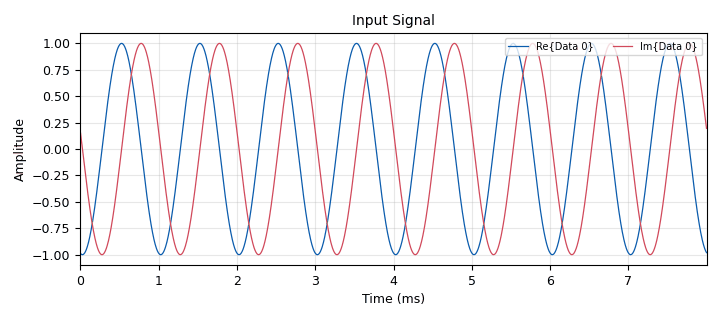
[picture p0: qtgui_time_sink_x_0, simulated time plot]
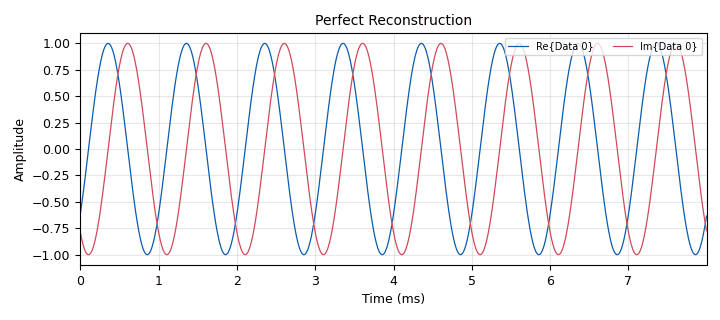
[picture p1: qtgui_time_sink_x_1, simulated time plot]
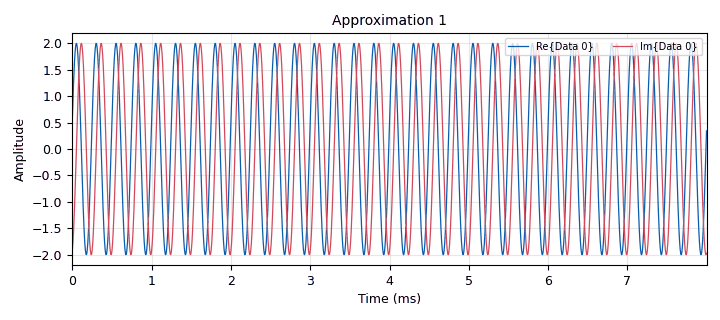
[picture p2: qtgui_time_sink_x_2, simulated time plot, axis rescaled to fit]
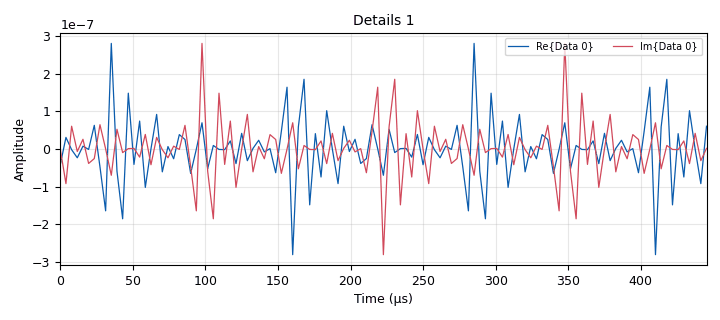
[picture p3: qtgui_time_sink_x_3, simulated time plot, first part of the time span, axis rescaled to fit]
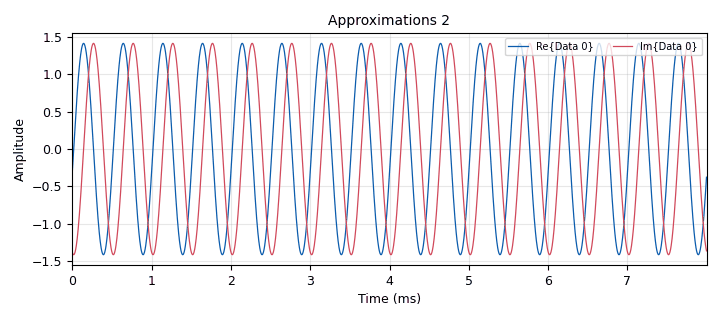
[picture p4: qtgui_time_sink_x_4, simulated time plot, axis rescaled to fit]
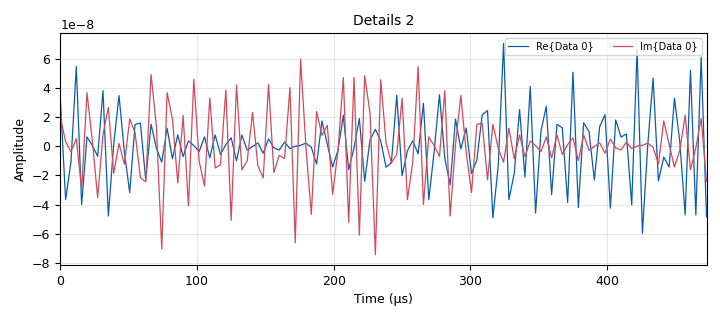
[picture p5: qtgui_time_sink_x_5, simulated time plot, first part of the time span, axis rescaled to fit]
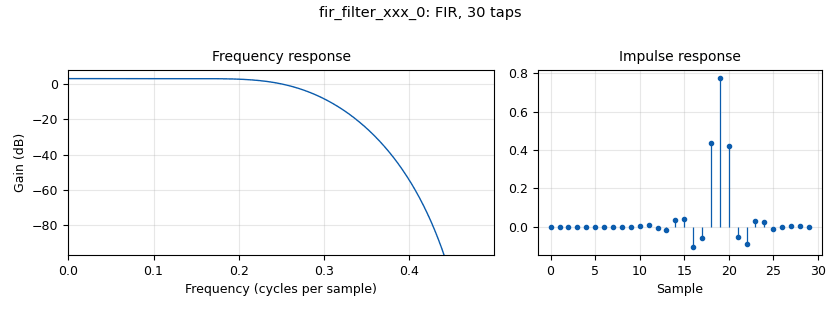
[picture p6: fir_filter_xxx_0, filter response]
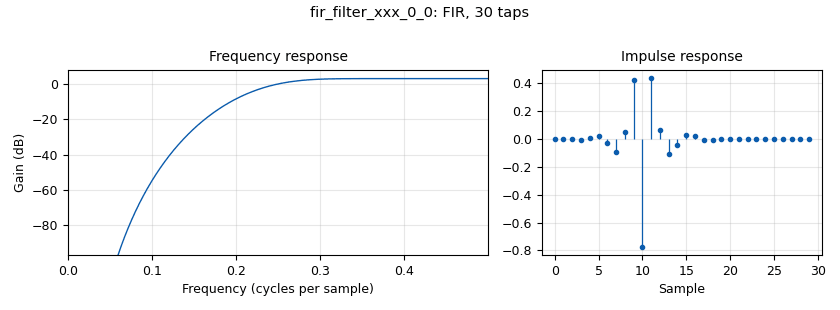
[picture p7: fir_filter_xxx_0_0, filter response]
options:
  parameters:
    author: perazaharmonics
    generate_options: qt_gui
    id: Coif5Dec3Flowgraph
    output_language: python
    title: coifletdec
  states: {}

blocks:
- name: frequency
  id: variable_qtgui_range
  parameters:
    start: '-samp_rate/2'
    step: '1'
    stop: samp_rate/2
    value: samp_rate / 64
  states: {}
- name: g
  id: variable
  parameters:
    value: '[0.0002120808, 0.0003585897, -0.0021782364,-0.0041593588,  0.0101311175,  0.0234081568, -0.0281680290 , -0.0919200106,  0.0520431632,  0.4215662067,  -0.7742896037,  0.4379916262,  0.0620359640, -0.1055742087, -0.0412892088,  0.0326835743 ,  0.0197617789, -0.0091642312 , -0.0067641854  ,  0.0024333732,  0.0016628637, -0.0006381313  , -0.0003022596 , 0.0001405411 ,  0.0000413404, -0.0000213150 , -0.0000037347 ,  0.0000020638 , 0.0000001674 , -0.0000000952]'
  states: {}
- name: g_inv
  id: variable
  parameters:
    value: '[-0.0000000952,  0.0000001674,  0.0000020638, -0.0000037347, -0.0000213150,  0.0000413404,  0.0001405411, -0.0003022596, -0.0006381313,  0.0016628637,  0.0024333732, -0.0067641854, -0.0091642312,  0.0197617789,  0.0326835743, -0.0412892088, -0.1055742087, 0.0620359640,  0.4379916262, -0.7742896037,  0.4215662067,  0.0520431632, -0.0919200106, -0.0281680290, 0.0234081568, 0.0101311175, -0.0041593588,-0.0021782364,0.0003585897,0.0002120808]'
  states: {}
- name: h
  id: variable
  parameters:
    value: '[-0.0000000952, -0.0000001674, 0.0000020638, 0.0000037347, -0.0000213150, -0.0000413404, 0.0001405411, 0.0003022596, -0.0006381313, -0.0016628637, 0.0024333732, 0.0067641854, -0.0091642312, -0.0197617789, 0.0326835743, 0.0412892088, -0.1055742087, -0.0620359640, 0.4379916262, 0.7742896037, 0.4215662067, -0.0520431632, -0.0919200106, 0.0281680290, 0.0234081568, -0.0101311175, -0.0041593588, 0.0021782364, 0.0003585897, -0.0002120808]'
  states: {}
- name: h_inv
  id: variable
  parameters:
    value: '[-0.0002120808, 0.0003585897, 0.0021782364,  -0.0041593588, -0.0101311175, 0.0234081568, 0.0281680290, -0.0919200106,  -0.0520431632, 0.4215662067, 0.7742896037, 0.4379916262, -0.0620359640, -0.1055742087, 0.0412892088, 0.0326835743, -0.0197617789, -0.0091642312, 0.0067641854, 0.0024333732,  -0.0016628637, -0.0006381313, 0.0003022596, 0.0001405411, -0.0000413404,  -0.0000213150, 0.0000037347, 0.0000020638, -0.0000001674, -0.0000000952]    '
  states: {}
- name: samp_rate
  id: variable
  parameters:
    value: '256000'
  states: {}
- name: analog_sig_source_x_0
  id: analog_sig_source_x
  parameters:
    amp: '1'
    freq: frequency
    offset: '0'
    phase: '0'
    samp_rate: 4*samp_rate
    type: complex
    waveform: analog.GR_SIN_WAVE
  states: {}
- name: blocks_add_xx_0
  id: blocks_add_xx
  parameters:
    type: complex
  states: {}
- name: blocks_add_xx_0_0
  id: blocks_add_xx
  parameters:
    type: complex
  states: {}
- name: blocks_add_xx_0_0_0
  id: blocks_add_xx
  parameters:
    type: complex
  states: {}
- name: blocks_throttle_0_0_0
  id: blocks_throttle
  parameters:
    samples_per_second: samp_rate
    type: complex
  states: {}
- name: fir_filter_xxx_0
  id: fir_filter_xxx
  parameters:
    decim: '2'
    taps: h
    type: ccc
  states: {}
- name: fir_filter_xxx_0_0
  id: fir_filter_xxx
  parameters:
    decim: '2'
    taps: g
    type: ccc
  states: {}
- name: fir_filter_xxx_0_0_0
  id: fir_filter_xxx
  parameters:
    decim: '2'
    taps: g
    type: ccc
  states: {}
- name: fir_filter_xxx_0_1
  id: fir_filter_xxx
  parameters:
    decim: '2'
    taps: h
    type: ccc
  states: {}
- name: fir_filter_xxx_0_1_0
  id: fir_filter_xxx
  parameters:
    decim: '2'
    taps: h
    type: ccc
  states: {}
- name: fir_filter_xxx_0_1_0_0
  id: fir_filter_xxx
  parameters:
    decim: '2'
    taps: g
    type: ccc
  states: {}
- name: import_0
  id: import
  parameters:
    imports: import numpy as np
  states: {}
- name: interp_fir_filter_xxx_0
  id: interp_fir_filter_xxx
  parameters:
    interp: '2'
    taps: h_inv
    type: ccc
  states: {}
- name: interp_fir_filter_xxx_0_0
  id: interp_fir_filter_xxx
  parameters:
    interp: '2'
    taps: g_inv
    type: ccc
  states: {}
- name: interp_fir_filter_xxx_0_0_0
  id: interp_fir_filter_xxx
  parameters:
    interp: '2'
    taps: g_inv
    type: ccc
  states: {}
- name: interp_fir_filter_xxx_0_0_1
  id: interp_fir_filter_xxx
  parameters:
    interp: '2'
    taps: g_inv
    type: ccc
  states: {}
- name: interp_fir_filter_xxx_0_1
  id: interp_fir_filter_xxx
  parameters:
    interp: '2'
    taps: h_inv
    type: ccc
  states: {}
- name: interp_fir_filter_xxx_0_2
  id: interp_fir_filter_xxx
  parameters:
    interp: '2'
    taps: h_inv
    type: ccc
  states: {}
- name: qtgui_time_sink_x_0
  id: qtgui_time_sink_x
  parameters:
    autoscale: 'True'
    name: '"Input Signal"'
    size: '2048'
    srate: samp_rate
    type: complex
  states: {}
- name: qtgui_time_sink_x_1
  id: qtgui_time_sink_x
  parameters:
    autoscale: 'True'
    name: '"Perfect Reconstruction"'
    size: '2048'
    srate: samp_rate
    type: complex
  states: {}
- name: qtgui_time_sink_x_2
  id: qtgui_time_sink_x
  parameters:
    name: '"Approximation 1"'
    size: '2048'
    srate: samp_rate
    type: complex
  states: {}
- name: qtgui_time_sink_x_3
  id: qtgui_time_sink_x
  parameters:
    name: '"Details 1"'
    size: '2048'
    srate: samp_rate
    type: complex
  states: {}
- name: qtgui_time_sink_x_4
  id: qtgui_time_sink_x
  parameters:
    name: '"Approximations 2"'
    size: '2048'
    srate: samp_rate
    type: complex
  states: {}
- name: qtgui_time_sink_x_5
  id: qtgui_time_sink_x
  parameters:
    name: '"Details 2"'
    size: '2048'
    srate: samp_rate
    type: complex
  states: {}
- name: qtgui_time_sink_x_6
  id: qtgui_time_sink_x
  parameters:
    autoscale: 'True'
    name: '"Approximations 3"'
    size: '2048'
    srate: samp_rate
    type: complex
  states: {}
- name: qtgui_time_sink_x_7
  id: qtgui_time_sink_x
  parameters:
    autoscale: 'True'
    name: '"Details 3"'
    size: '2048'
    srate: samp_rate
    type: complex
  states: {}
- name: virtual_sink_0
  id: virtual_sink
  parameters:
    stream_id: signal
  states: {}
- name: virtual_source_0
  id: virtual_source
  parameters:
    stream_id: signal
  states: {}

connections:
- [analog_sig_source_x_0, '0', virtual_sink_0, '0']
- [blocks_add_xx_0, '0', interp_fir_filter_xxx_0_2, '0']
- [blocks_add_xx_0_0, '0', interp_fir_filter_xxx_0_1, '0']
- [blocks_add_xx_0_0_0, '0', qtgui_time_sink_x_1, '0']
- [blocks_throttle_0_0_0, '0', fir_filter_xxx_0, '0']
- [blocks_throttle_0_0_0, '0', fir_filter_xxx_0_0, '0']
- [blocks_throttle_0_0_0, '0', fir_filter_xxx_0_0_0, '0']
- [fir_filter_xxx_0, '0', fir_filter_xxx_0_1, '0']
- [fir_filter_xxx_0_0, '0', interp_fir_filter_xxx_0_0_0, '0']
- [fir_filter_xxx_0_0_0, '0', interp_fir_filter_xxx_0_0_1, '0']
- [fir_filter_xxx_0_1, '0', fir_filter_xxx_0_1_0, '0']
- [fir_filter_xxx_0_1, '0', fir_filter_xxx_0_1_0_0, '0']
- [fir_filter_xxx_0_1_0, '0', interp_fir_filter_xxx_0, '0']
- [fir_filter_xxx_0_1_0_0, '0', interp_fir_filter_xxx_0_0, '0']
- [interp_fir_filter_xxx_0, '0', blocks_add_xx_0, '0']
- [interp_fir_filter_xxx_0, '0', qtgui_time_sink_x_2, '0']
- [interp_fir_filter_xxx_0_0, '0', blocks_add_xx_0, '1']
- [interp_fir_filter_xxx_0_0, '0', qtgui_time_sink_x_3, '0']
- [interp_fir_filter_xxx_0_0_0, '0', blocks_add_xx_0_0, '1']
- [interp_fir_filter_xxx_0_0_0, '0', qtgui_time_sink_x_5, '0']
- [interp_fir_filter_xxx_0_0_1, '0', blocks_add_xx_0_0_0, '1']
- [interp_fir_filter_xxx_0_0_1, '0', qtgui_time_sink_x_7, '0']
- [interp_fir_filter_xxx_0_1, '0', blocks_add_xx_0_0_0, '0']
- [interp_fir_filter_xxx_0_1, '0', qtgui_time_sink_x_6, '0']
- [interp_fir_filter_xxx_0_2, '0', blocks_add_xx_0_0, '0']
- [interp_fir_filter_xxx_0_2, '0', qtgui_time_sink_x_4, '0']
- [virtual_source_0, '0', blocks_throttle_0_0_0, '0']
- [virtual_source_0, '0', qtgui_time_sink_x_0, '0']

metadata:
  file_format: 1
